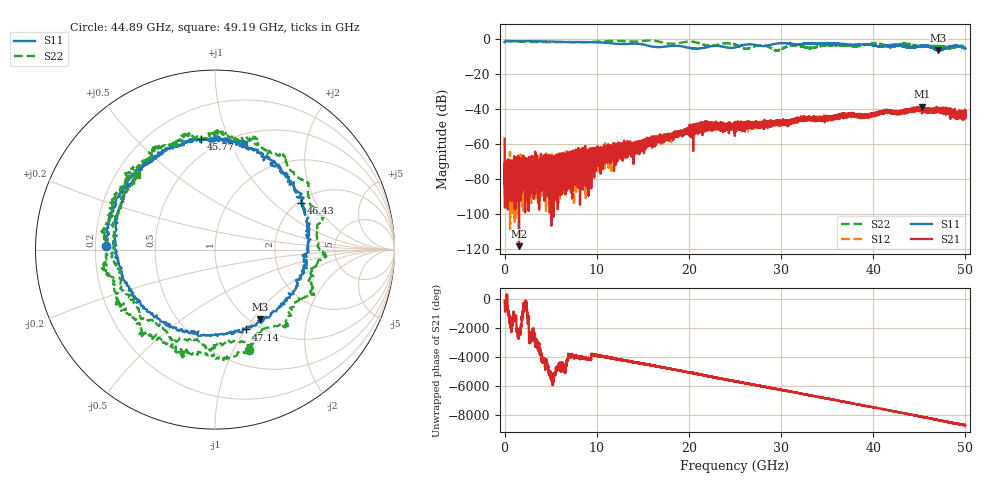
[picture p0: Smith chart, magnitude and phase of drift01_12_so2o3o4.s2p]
!Created with skrf (http://scikit-rf.org).
# Hz S RI R 50.0
!freq ReS11 ImS11 ReS21 ImS21 ReS12 ImS12 ReS22 ImS22
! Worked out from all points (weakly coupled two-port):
!   10001 points, 300 kHz to 50 GHz, reference 50 ohm
!   highest |S21| = -38.85 dB at 45.27 GHz (marker M1); lowest = -118.3 dB at 1.56 GHz (marker M2)
!   lowest |S11| = -6.7 dB at 47.05 GHz (marker M3), VSWR 2.72, Z = 55.5 - j54.7 ohm
!   |S11| at or under -10 dB: nowhere
!   |S22| runs from -6.9 to -1.0 dB; largest |S21 - S12| = 0.0036
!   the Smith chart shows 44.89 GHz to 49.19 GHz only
!   S11 on the Smith chart (normalised r, x): 44.89 GHz: 0.24, +0.01; 45.77 GHz: 0.40, +0.80; 46.43 GHz: 2.09, +1.54; 47.14 GHz: 0.87, -1.01; 49.19 GHz: 0.60, +1.12
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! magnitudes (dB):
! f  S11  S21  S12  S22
! 300 kHz  -2.0  -57.0  -70.0  -1.3
! 255.3 MHz  -1.4  -75.8  -71.9  -1.4
! 1.56 GHz  -1.4  -118.3  -74.8  -1.8
! 5.7 GHz  -1.8  -82.1  -81.6  -2.0
! 8.335 GHz  -1.9  -67.8  -67.6  -2.1
! 16.67 GHz  -4.8  -58.1  -56.5  -1.6
! 21.79 GHz  -5.0  -49.6  -51.5  -3.7
! 25 GHz  -5.0  -49.6  -50.1  -3.4
! 26.18 GHz  -3.4  -48.9  -51.2  -5.8
! 28.09 GHz  -4.3  -49.3  -48.7  -3.8
! 29.51 GHz  -2.9  -47.4  -47.3  -6.7
! 31.28 GHz  -3.1  -47.2  -47.2  -4.0
! 33.34 GHz  -2.6  -45.9  -45.5  -5.3
! 41.67 GHz  -3.9  -41.2  -41.5  -4.7
! 44.89 GHz  -4.3  -40.0  -39.9  -4.6
! 45.27 GHz  -4.1  -38.9  -40.4  -4.4
! 45.77 GHz  -4.2  -39.8  -41.0  -4.2
! 46.43 GHz  -5.3  -41.6  -40.6  -3.6
! 47.05 GHz  -6.7  -40.1  -39.9  -4.3
! 47.14 GHz  -6.4  -40.4  -40.5  -3.9
! 49.19 GHz  -4.3  -43.8  -43.8  -4.4
! 50 GHz  -5.6  -45.0  -43.4  -4.3
